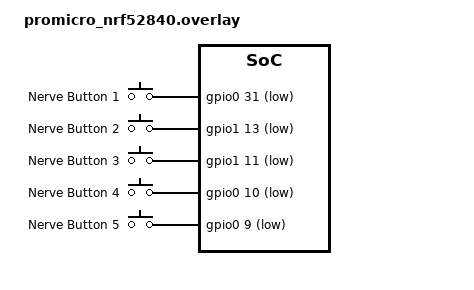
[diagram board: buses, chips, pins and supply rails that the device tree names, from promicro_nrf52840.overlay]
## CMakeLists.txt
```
cmake_minimum_required(VERSION 3.20.0)

find_package(Zephyr REQUIRED HINTS $ENV{ZEPHYR_BASE})
project(nerve)

target_sources(app PRIVATE src/main.c)
```

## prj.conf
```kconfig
CONFIG_GPIO=y
CONFIG_CONSOLE=y
```

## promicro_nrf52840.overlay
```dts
/ {
buttons {
compatible = "gpio-keys";

nerve_button1: nerve_button1 {
gpios = <&gpio0 31 (GPIO_PULL_UP | GPIO_ACTIVE_LOW)>;
label = "Nerve Button 1";
};

nerve_button2: nerve_button2 {
gpios = <&gpio1 13 (GPIO_PULL_UP | GPIO_ACTIVE_LOW)>;
label = "Nerve Button 2";
};

nerve_button3: nerve_button3 {
gpios = <&gpio1 11 (GPIO_PULL_UP | GPIO_ACTIVE_LOW)>;
label = "Nerve Button 3";
};

nerve_button4: nerve_button4 {
gpios = <&gpio0 10 (GPIO_PULL_UP | GPIO_ACTIVE_LOW)>;
label = "Nerve Button 4";
};

nerve_button5: nerve_button5 {
gpios = <&gpio0 9 (GPIO_PULL_UP | GPIO_ACTIVE_LOW)>;
label = "Nerve Button 5";
};
};
aliases {
nerve-button1 = &nerve_button1;
nerve-button2 = &nerve_button2;
nerve-button3 = &nerve_button3;
nerve-button4 = &nerve_button4;
nerve-button5 = &nerve_button5;
};
};
```

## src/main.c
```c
#include <hal/nrf_power.h>
#include <inttypes.h>
#include <zephyr/device.h>
#include <zephyr/drivers/gpio.h>
#include <zephyr/drivers/uart.h>
#include <zephyr/kernel.h>
#include <zephyr/sys/printk.h>

struct nerve_button {
    struct gpio_dt_spec gpio;
    struct gpio_callback callback;
    size_t index;
    volatile uint32_t count;
};

static void enter_bootloader(void) {
    printk("Entering bootloader\n");

    k_msleep(500);

    nrf_power_gpregret_set(NRF_POWER, 0, 0x57);
    NVIC_SystemReset();
}

static void button_pressed(const struct device *port, struct gpio_callback *cb,
                           gpio_port_pins_t pins) {
    struct nerve_button *button =
        CONTAINER_OF(cb, struct nerve_button, callback);
    button->count++;
}

int main(void) {
    static const struct gpio_dt_spec led =
        GPIO_DT_SPEC_GET(DT_ALIAS(led0), gpios);

    static struct nerve_button buttons[] = {
        {
            .gpio = GPIO_DT_SPEC_GET(DT_ALIAS(nerve_button1), gpios),
            .index = 1,
        },
        {
            .gpio = GPIO_DT_SPEC_GET(DT_ALIAS(nerve_button2), gpios),
            .index = 2,
        },
        {
            .gpio = GPIO_DT_SPEC_GET(DT_ALIAS(nerve_button3), gpios),
            .index = 3,
        },
        {
            .gpio = GPIO_DT_SPEC_GET(DT_ALIAS(nerve_button4), gpios),
            .index = 4,
        },
        {
            .gpio = GPIO_DT_SPEC_GET(DT_ALIAS(nerve_button5), gpios),
            .index = 5,
        },
    };

    // static struct gpio_callback button_cbs[ARRAY_SIZE(buttons)];

    static const struct device *console =
        DEVICE_DT_GET(DT_CHOSEN(zephyr_console));

    if (!gpio_is_ready_dt(&led) || !device_is_ready(console)) {
        return 0;
    }

    for (size_t i = 0; i < ARRAY_SIZE(buttons); i++) {
        if (!gpio_is_ready_dt(&buttons[i].gpio)) {
            return 0;
        }
    }

    for (size_t i = 0; i < ARRAY_SIZE(buttons); i++) {
        gpio_pin_configure_dt(&buttons[i].gpio, GPIO_INPUT);
        gpio_init_callback(&buttons[i].callback, button_pressed,
                           BIT(buttons[i].gpio.pin));
        gpio_add_callback_dt(&buttons[i].gpio, &buttons[i].callback);
        gpio_pin_interrupt_configure_dt(&buttons[i].gpio,
                                        GPIO_INT_EDGE_TO_ACTIVE);
    }

    gpio_pin_configure_dt(&led, GPIO_OUTPUT_INACTIVE);

    printk("nerve online\n");

    unsigned char c;
    int64_t time = k_uptime_get();

    while (1) {
        if (uart_poll_in(console, &c) == 0) {
            if (c == 'b') {
                enter_bootloader();
            }
        }
        int64_t elapsed = k_uptime_get() - time;
        if (elapsed > 5000) {
            for (size_t i = 0; i < ARRAY_SIZE(buttons); i++) {
                printk("%zu=%" PRIu32 " ", i, buttons[i].count);
            }
            printk("\n");
            time = k_uptime_get();
        }

        k_msleep(10);
    }
}
```
